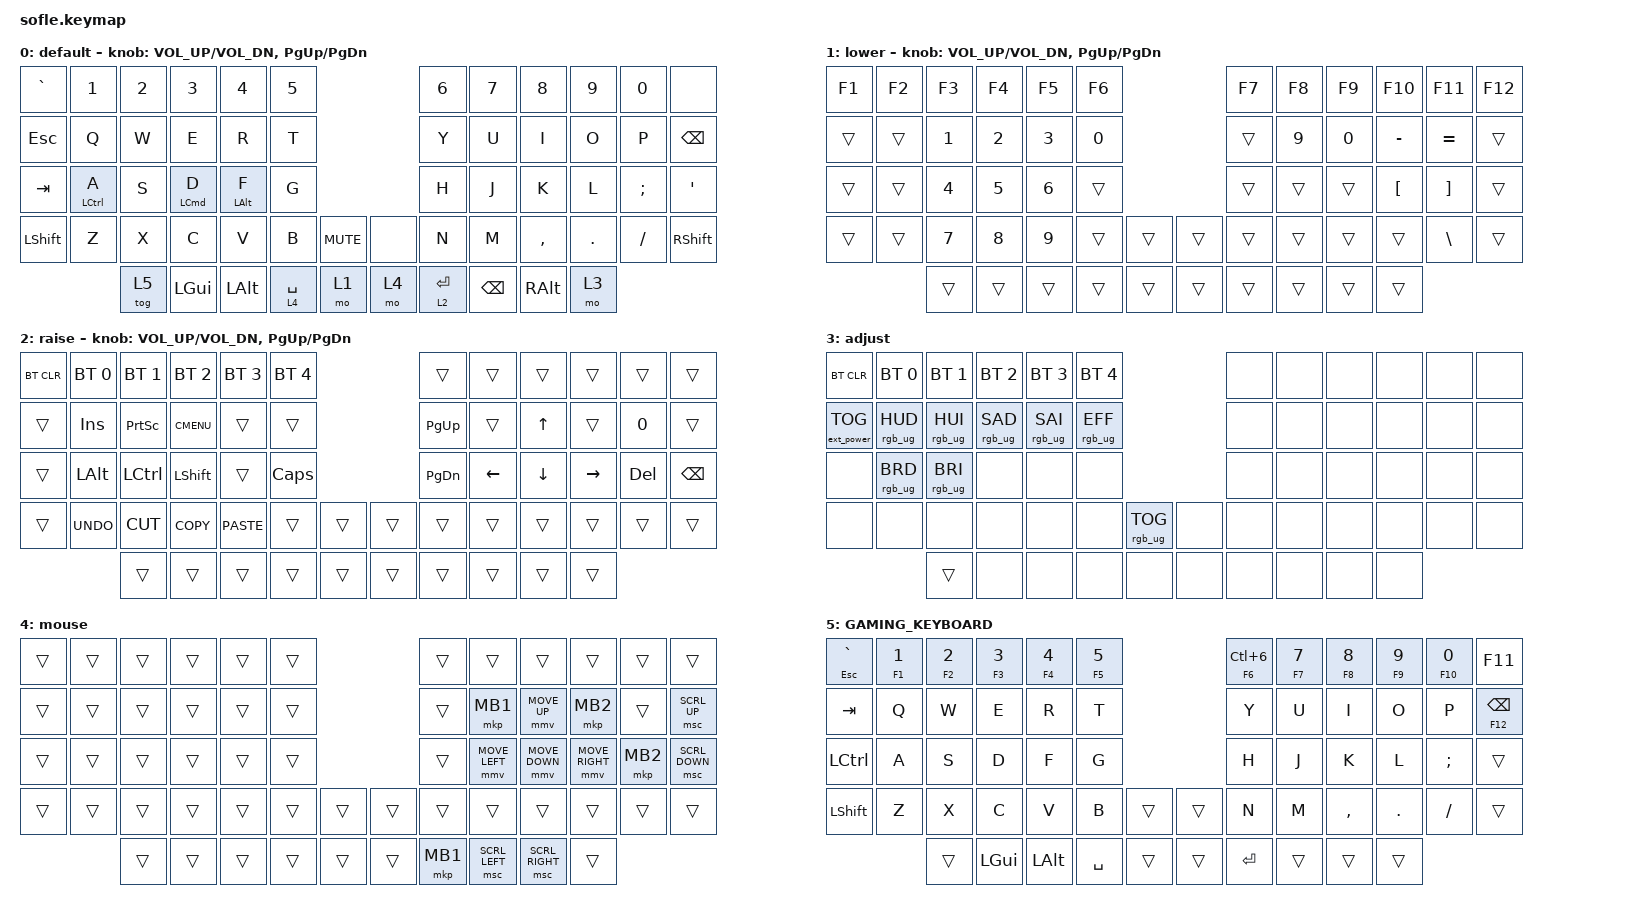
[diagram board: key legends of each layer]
/*
 * Copyright (c) 2020 The ZMK Contributors
 *
 * SPDX-License-Identifier: MIT
 */

#include <behaviors.dtsi>
#include <dt-bindings/zmk/bt.h>
#include <dt-bindings/zmk/ext_power.h>
#include <dt-bindings/zmk/keys.h>
#include <dt-bindings/zmk/pointing.h>
#include <dt-bindings/zmk/rgb.h>

#define BASE 0
#define LOWER 1
#define RAISE 2
#define ADJUST 3

/ {
    // Activate ADJUST layer by pressing raise and lower

    conditional_layers {
        compatible = "zmk,conditional-layers";

        adjust_layer {
            if-layers = <1 2>;
            then-layer = <3>;
        };
    };

    behaviors {
        longPress: longPress {
            compatible = "zmk,behavior-hold-tap";
            label = "LONGPRESS";
            bindings = <&kp>, <&kp>;

            #binding-cells = <2>;
            tapping-term-ms = <200>;
            flavor = "tap-preferred";
        };
    };

    keymap {
        compatible = "zmk,keymap";

        keys_layer {
            display-name = "default";

            // ------------------------------------------------------------------------------------------------------------
            // |   `   |  1  |  2  |  3   |  4   |  5   |                   |  6   |  7    |  8    |  9   |   0   |       |
            // |  ESC  |  Q  |  W  |  E   |  R   |  T   |                   |  Y   |  U    |  I    |  O   |   P   | BKSPC |
            // |  TAB  |  A  |  S  |  D   |  F   |  G   |                   |  H   |  J    |  K    |  L   |   ;   |   '   |
            // | SHIFT |  Z  |  X  |  C   |  V   |  B   |  MUTE  |  |       |  N   |  M    |  ,    |  .   |   /   | SHIFT |
            //               | CTRL| GUI  | ALT  | SPACE| LOWER  |  | ENTER | RAISE| CTRL  | ALT   | GUI  |

            bindings = <
&kp GRAVE  &kp N1                     &kp N2  &kp N3                     &kp N4                 &kp N5                            &kp N6       &kp N7         &kp N8     &kp N9   &kp N0    &none
&kp ESC    &kp Q                      &kp W   &kp E                      &kp R                  &kp T                             &kp Y        &kp U          &kp I      &kp O    &kp P     &kp BSPC
&kp TAB    &longPress LEFT_CONTROL A  &kp S   &longPress LEFT_COMMAND D  &longPress LEFT_ALT F  &kp G                             &kp H        &kp J          &kp K      &kp L    &kp SEMI  &kp SQT
&kp LSHFT  &kp Z                      &kp X   &kp C                      &kp V                  &kp B        &kp C_MUTE    &none  &kp N        &kp M          &kp COMMA  &kp DOT  &kp FSLH  &kp RSHFT
                                      &tog 5  &kp LGUI                   &kp LEFT_ALT           &lt 4 SPACE  &mo 1         &mo 4  &lt 2 ENTER  &kp BACKSPACE  &kp RALT   &mo 3
            >;

            sensor-bindings = <&inc_dec_kp C_VOL_UP C_VOL_DN &inc_dec_kp PG_UP PG_DN>;
        };

        number_layer {
            display-name = "lower";

            // TODO: Some binds are waiting for shifted keycode support.
            // ------------------------------------------------------------------------------------------------------------
            // |  F1   |  F2 |  F3 |  F4  |  F5  |  F6  |                   |  F7  |  F8   |  F9   |  F10 |  F11  |  F12  |
            // |       |  1  |  2  |  3   |  4   |  5   |                   |  6   |  7    |  8    |  9   |  0    |   -   |
            // |   `   |  @  |  !  |  %   |  $   |  |   |                   |  ^   |  &    |  *    |  (   |  [    |  ]    |
            // |       |     |  #  |  +   |  {   |  }   |        |  |       |  )   |  =    |  ;    |  :   |   \   |       |
            //               |     |      |      |      |        |  |       |      |       |       |      |

            bindings = <
&kp F1  &kp F2  &kp F3        &kp F4        &kp F5        &kp F6                    &kp F7  &kp F8  &kp F9  &kp F10           &kp F11            &kp F12
&trans  &trans  &kp NUMBER_1  &kp NUMBER_2  &kp NUMBER_3  &kp N0                    &trans  &kp N9  &kp N0  &kp MINUS         &kp EQUAL          &trans
&trans  &trans  &kp NUMBER_4  &kp N5        &kp NUMBER_6  &trans                    &trans  &trans  &trans  &kp LEFT_BRACKET  &kp RIGHT_BRACKET  &trans
&trans  &trans  &kp N7        &kp N8        &kp N9        &trans  &trans    &trans  &trans  &trans  &trans  &trans            &kp BSLH           &trans
                &trans        &trans        &trans        &trans  &trans    &trans  &trans  &trans  &trans  &trans
            >;

            sensor-bindings = <&inc_dec_kp C_VOL_UP C_VOL_DN &inc_dec_kp PG_UP PG_DN>;
        };

        raise_layer {
            display-name = "raise";

            // ------------------------------------------------------------------------------------------------------------
            // | BTCLR | BT1  | BT2  |  BT3  |  BT4  |  BT5 |                |      |      |       |      |       |       |
            // |       | INS  | PSCR | GUI   |       |      |                | PGUP |      |   ^   |      |       |       |
            // |       | ALT  | CTRL | SHIFT |       | CAPS |                | PGDN |   <- |   v   |  ->  |  DEL  | BKSPC |
            // |       | UNDO | CUT  | COPY  | PASTE |      |      |  |      |      |      |       |      |       |       |
            //                |      |       |       |      |      |  |      |      |      |       |      |

            bindings = <
&bt BT_CLR  &bt BT_SEL 0  &bt BT_SEL 1  &bt BT_SEL 2  &bt BT_SEL 3  &bt BT_SEL 4                    &trans     &trans    &trans    &trans     &trans   &trans
&trans      &kp INS       &kp PSCRN     &kp K_CMENU   &trans        &trans                          &kp PG_UP  &trans    &kp UP    &trans     &kp N0   &trans
&trans      &kp LALT      &kp LCTRL     &kp LSHFT     &trans        &kp CLCK                        &kp PG_DN  &kp LEFT  &kp DOWN  &kp RIGHT  &kp DEL  &kp BSPC
&trans      &kp K_UNDO    &kp K_CUT     &kp K_COPY    &kp K_PASTE   &trans        &trans    &trans  &trans     &trans    &trans    &trans     &trans   &trans
                          &trans        &trans        &trans        &trans        &trans    &trans  &trans     &trans    &trans    &trans
            >;

            sensor-bindings = <&inc_dec_kp C_VOL_UP C_VOL_DN &inc_dec_kp PG_UP PG_DN>;
        };

        adjust_layer {
            // ----------------------------------------------------------------------------------------------------------------------------
            // | BTCLR  |  BT1    |  BT2    |   BT3   |   BT4   |   BT5   |                  |      |      |       |      |       |       |
            // | EXTPWR | RGB_HUD | RGB_HUI | RGB_SAD | RGB_SAI | RGB_EFF |                  |      |      |       |      |       |       |
            // |        | RGB_BRD | RGB_BRI |         |         |         |                  |      |      |       |      |       |       |
            // |        |         |         |         |         |         | RGB_TOG | |      |      |      |       |      |       |       |
            //                    |         |         |         |         |         | |      |      |      |       |      |

            display-name = "adjust";
            bindings = <
&bt BT_CLR         &bt BT_SEL 0     &bt BT_SEL 1     &bt BT_SEL 2     &bt BT_SEL 3     &bt BT_SEL 4                               &none  &none  &none  &none  &none  &none
&ext_power EP_TOG  &rgb_ug RGB_HUD  &rgb_ug RGB_HUI  &rgb_ug RGB_SAD  &rgb_ug RGB_SAI  &rgb_ug RGB_EFF                            &none  &none  &none  &none  &none  &none
&none              &rgb_ug RGB_BRD  &rgb_ug RGB_BRI  &none            &none            &none                                      &none  &none  &none  &none  &none  &none
&none              &none            &none            &none            &none            &none            &rgb_ug RGB_TOG    &none  &none  &none  &none  &none  &none  &none
                                    &trans           &none            &none            &none            &none              &none  &none  &none  &none  &none
            >;
        };

        mouse {
            bindings = <
&trans  &trans  &trans  &trans  &trans  &trans                    &trans    &trans          &trans           &trans           &trans    &trans
&trans  &trans  &trans  &trans  &trans  &trans                    &trans    &mkp MB1        &mmv MOVE_UP     &mkp MB2         &trans    &msc SCRL_UP
&trans  &trans  &trans  &trans  &trans  &trans                    &trans    &mmv MOVE_LEFT  &mmv MOVE_DOWN   &mmv MOVE_RIGHT  &mkp MB2  &msc SCRL_DOWN
&trans  &trans  &trans  &trans  &trans  &trans  &trans    &trans  &trans    &trans          &trans           &trans           &trans    &trans
                &trans  &trans  &trans  &trans  &trans    &trans  &mkp MB1  &msc SCRL_LEFT  &msc SCRL_RIGHT  &trans
            >;
        };

        GAMING_KEYBOARD {
            bindings = <
&mt ESC GRAVE  &mt F1 NUMBER_1  &mt F2 NUMBER_2  &mt F3 NUMBER_3  &mt F4 NUMBER_4  &mt F5 N5                    &mt F6 LC(NUMBER_6)  &mt F7 N7  &mt F8 N8  &mt F9 N9  &mt F10 N0  &kp F11
&kp TAB        &kp Q            &kp W            &kp E            &kp R            &kp T                        &kp Y                &kp U      &kp I      &kp O      &kp P       &mt F12 BACKSPACE
&kp LCTRL      &kp A            &kp S            &kp D            &kp F            &kp G                        &kp H                &kp J      &kp K      &kp L      &kp SEMI    &trans
&kp LSHFT      &kp Z            &kp X            &kp C            &kp V            &kp B      &trans    &trans  &kp N                &kp M      &kp COMMA  &kp DOT    &kp FSLH    &trans
                                &trans           &kp LGUI         &kp LALT         &kp SPACE  &trans    &trans  &kp ENTER            &trans     &trans     &trans
            >;
        };
    };
};
